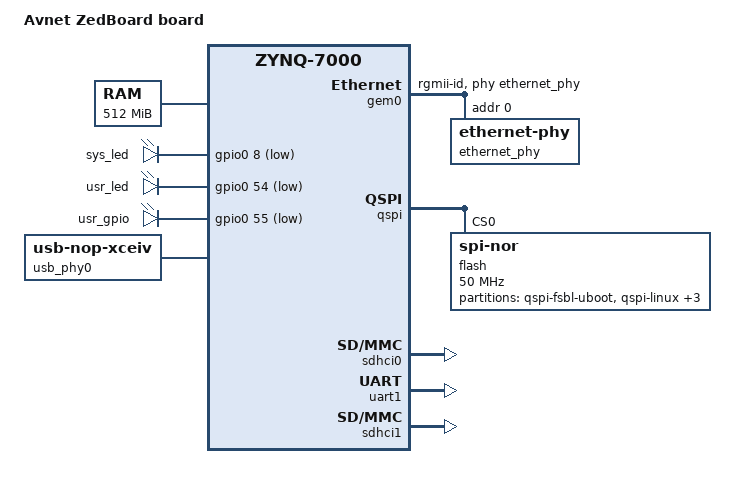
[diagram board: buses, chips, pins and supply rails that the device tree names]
// SPDX-License-Identifier: GPL-2.0
/*
 *  Copyright (C) 2011 - 2014 Xilinx
 *  Copyright (C) 2012 National Instruments Corp.
 */
/dts-v1/;
#include "zynq-7000.dtsi"

/ {
	model = "Avnet ZedBoard board";
	compatible = "avnet,zynq-zed", "xlnx,zynq-zed", "xlnx,zynq-7000";

	aliases {
		ethernet0 = &gem0;
		serial0 = &uart1;
		spi0 = &qspi;
		mmc0 = &sdhci0;
		mmc1 = &sdhci1;
	};

	memory@0 {
		device_type = "memory";
		reg = <0x0 0x20000000>;
	};

	chosen {
		bootargs = "root=/dev/mmcblk0p2 rw rootwait clk_ignore_unused";
		stdout-path = "serial0:115200n8";
	};

	leds {
		compatible = "gpio-leds";

		sys_led {
			label = "sys_led";
			gpios = <&gpio0 8 1>;
			default-state = "on";
			linux,default-trigger = "heartbeat";
		};

		usr_led {
			label = "usr_led";
			gpios = <&gpio0 54 1>;
			default-state = "off";
			linux,default-trigger = "mmc0";
		};

		gpio {
			label = "usr_gpio";
			gpios = <&gpio0 55 1>;
			default-state = "off";
			linux,default-trigger = "none";
		};
	};

	usb_phy0: phy0 {
		compatible = "usb-nop-xceiv";
		#phy-cells = <0>;
	};
};

&gem0 {
	status = "okay";
	phy-mode = "rgmii-id";
	phy-handle = <&ethernet_phy>;

	ethernet_phy: ethernet-phy@0 {
		reg = <0>;
	};
};

&qspi {
	bootph-all;
	status = "okay";
	num-cs = <1>;
	flash@0 {
		compatible = "jedec,spi-nor";
		reg = <0>;
		spi-tx-bus-width = <1>;
		spi-rx-bus-width = <4>;
		spi-max-frequency = <50000000>;
		m25p,fast-read;
		partitions {
			compatible = "fixed-partitions";
			#address-cells = <1>;
			#size-cells = <1>;
			partition@0 {
				label = "qspi-fsbl-uboot";
				reg = <0x0 0x100000>;
			};
			partition@100000 {
				label = "qspi-linux";
				reg = <0x100000 0x500000>;
			};
			partition@600000 {
				label = "qspi-device-tree";
				reg = <0x600000 0x20000>;
			};
			partition@620000 {
				label = "qspi-rootfs";
				reg = <0x620000 0x5e0000>;
			};
			partition@c00000 {
				label = "qspi-bitstream";
				reg = <0xc00000 0x400000>;
			};
		};
	};
};

&qspi {
	is-dual = <0>;
	num-cs = <1>;
	spi-rx-bus-width = <4>;
	spi-tx-bus-width = <4>;
	status = "okay";
};
&sdhci0 {
	status = "okay";
	xlnx,has-cd = <0x1>;
	xlnx,has-power = <0x0>;
	xlnx,has-wp = <0x1>;
};

&uart1 {
	status = "okay";
};

&sdhci1 {
	status = "okay";
	xlnx,has-cd = <0x1>;
	xlnx,has-power = <0x0>;
	xlnx,has-wp = <0x0>;
};
